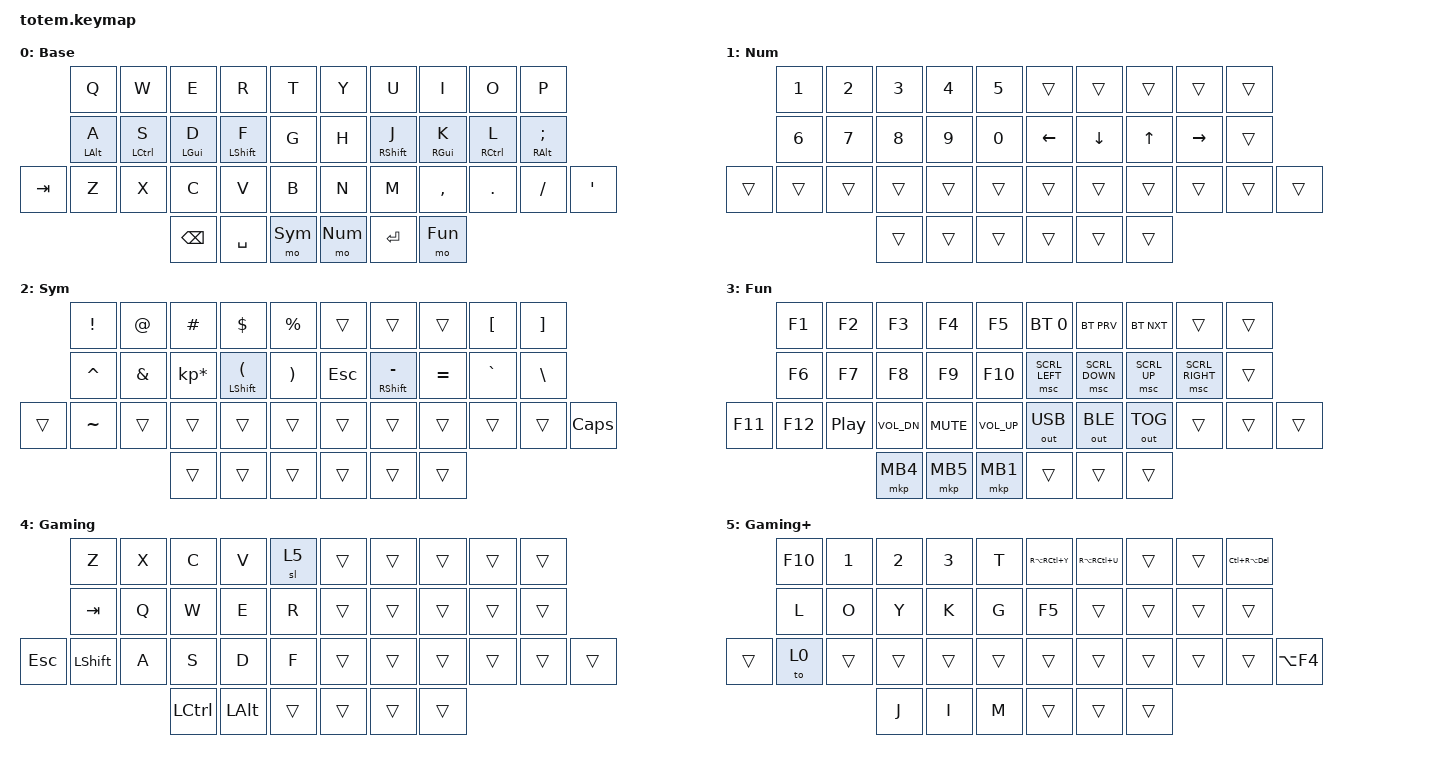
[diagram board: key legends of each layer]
//
//                                                        ▀▀▀▀▀     ▀▀▀▀▀          ▀▀█▀▀
//                                                        ▄▀▀▀▄  ▄  ▄▀▀▀▄  ▄  ▄▀▀▀▄  █  ▄▀▀▀▄
//                                                        █   █  █  █   █  █  █   █  █  █   █
//                                                         ▀▀▀   █   ▀▀▀   █   ▀▀▀   ▀   ▀▀▀
//                                                               █      ▄▄▄█▄▄▄    █   █  
//                                                               ▀      █  █  █     █▄█
//                                                             ▀▀▀▀▀    █  █  █      ▀
//                                                                      ▀  ▀  ▀
//
// ▄▄▄▄▄▄▄▄▄▄▄▄▄▄▄▄▄▄▄▄▄▄▄▄▄▄▄▄▄▄▄▄▄▄▄▄▄▄▄▄▄▄▄▄▄▄▄▄▄▄▄▄▄▄▄▄▄▄▄▄▄▄▄▄▄▄▄▄▄▄▄▄▄▄▄▄▄▄▄▄▄▄▄▄▄▄▄▄▄▄▄▄▄▄▄▄▄▄▄▄▄▄▄▄▄▄▄▄▄▄▄▄▄▄▄▄▄▄▄▄▄▄▄▄▄▄▄▄▄▄▄▄▄▄▄▄▄▄▄▄▄▄▄▄▄▄▄▄▄

#include <behaviors.dtsi>
#include <dt-bindings/zmk/bt.h>
#include <dt-bindings/zmk/ext_power.h>
#include <dt-bindings/zmk/pointing.h>
#include <dt-bindings/zmk/outputs.h>
#include <dt-bindings/zmk/keys.h>

#define Base        0
#define Num         1
#define Sym         2
#define Nav         3
#define Media       4
#define Mouse       5
#define Fun         6
#define Button      7
#define Game        8
#define Gameplus    9

&mt {
    quick-tap-ms = <100>;
    global-quick-tap;
    flavor = "tap-preferred";
    tapping-term-ms = <170>;
};

&lt {
    tapping-term-ms = <240>;
    flavor = "balanced";
    quick-tap-ms = <150>;
};

/ {
    behaviors {
        hm: homerow_mods {
            compatible = "zmk,behavior-hold-tap";
            label = "HOMEROW_MODS";
            #binding-cells = <2>;
            flavor = "tap-preferred";
            tapping-term-ms = <200>;
            quick-tap-ms = <125>;
            global-quick-tap;
            bindings = <&kp>, <&kp>;
        };
    };

    combos { compatible = "zmk,combos"; };
    keymap {
        compatible = "zmk,keymap";

        Base {
            label = "Base";
            bindings = <
              &kp Q       &kp W       &kp E         &kp R         &kp T        &kp Y    &kp U        &kp I       &kp O       &kp P
              &hm LALT A  &hm LCTRL S &hm LGUI D    &hm LSHIFT F  &kp G        &kp H    &hm RSHFT J  &hm RGUI K  &hm RCTRL L &hm RALT SEMICOLON
  &kp TAB     &kp Z       &kp X       &kp C         &kp V         &kp B        &kp N    &kp M        &kp COMMA   &kp DOT     &kp SLASH           &kp APOSTROPHE
                                      &kp BSPC      &kp SPACE     &mo Sym      &mo Num  &kp RET      &mo Fun
            >;
        };

        Num {
            label = "Num";
            bindings = <
              &kp N1    &kp N2   &kp N3    &kp N4   &kp N5      &trans    &trans     &trans  &trans    &trans
              &kp N6    &kp N7   &kp N8    &kp N9   &kp N0      &kp LEFT  &kp DOWN   &kp UP  &kp RIGHT &trans
      &trans  &trans    &trans   &trans    &trans   &trans      &trans    &trans     &trans  &trans    &trans  &trans
                                 &trans    &trans   &trans      &trans    &trans     &trans
            >;
        };

        Sym {
            label = "Sym";
            bindings = <
        &kp EXCL   &kp AT         &kp HASH         &kp DOLLAR      &kp PERCENT  &trans      &trans              &trans     &kp LBKT    &kp RBKT
        &kp CARET  &kp AMPERSAND  &kp KP_ASTERISK  &hm LSHFT LPAR  &kp RPAR     &kp ESC     &hm RSHFT MINUS     &kp EQUAL  &kp GRAVE   &kp BACKSLASH
&trans  &kp TILDE  &trans         &trans           &trans          &trans       &trans      &trans              &trans     &trans      &trans       &kp CAPS
                                  &trans           &trans          &trans       &trans      &trans      &trans
            >;
        };

        Fun {
            label = "Fun";
            bindings = <
         &kp F1  &kp F2    &kp F3        &kp F4      &kp F5          &bt BT_SEL 0    &bt BT_PRV      &bt BT_NXT    &trans           &trans
         &kp F6  &kp F7    &kp F8        &kp F9      &kp F10         &msc SCRL_LEFT  &msc SCRL_DOWN  &msc SCRL_UP  &msc SCRL_RIGHT  &trans  
&kp F11  &kp F12 &kp C_PP  &kp C_VOL_DN  &kp C_MUTE  &kp C_VOL_UP    &out OUT_USB    &out OUT_BLE    &out OUT_TOG  &trans           &trans  &trans
                           &mkp MB4      &mkp MB5    &mkp MB1        &trans          &trans          &trans
            >;
        };

        Gaming {
            bindings = <
            &kp Z           &kp X  &kp C      &kp V         &sl 5     &trans  &trans  &trans  &trans  &trans
            &kp TAB         &kp Q  &kp W      &kp E         &kp R     &trans  &trans  &trans  &trans  &trans
&kp ESCAPE  &kp LEFT_SHIFT  &kp A  &kp S      &kp D         &kp F     &trans  &trans  &trans  &trans  &trans  &trans
                                   &kp LCTRL  &kp LEFT_ALT  &trans    &trans  &trans  &trans
            >;

            label = "Gaming";
        };

        Gaming+ {
            bindings = <
        &kp F10  &kp NUMBER_1  &kp NUMBER_2  &kp NUMBER_3  &kp T     &kp RA(RC(Y))  &kp RA(RC(U))  &trans  &trans  &kp LC(RA(DEL))
        &kp L    &kp O         &kp Y         &kp K         &kp G     &kp F5         &trans         &trans  &trans  &trans
&trans  &to 0    &trans        &trans        &trans        &trans    &trans         &trans         &trans  &trans  &trans           &kp LA(F4)
                               &kp J         &kp I         &kp M     &trans         &trans         &trans
            >;

            label = "Gaming+";
        };
    };
};
